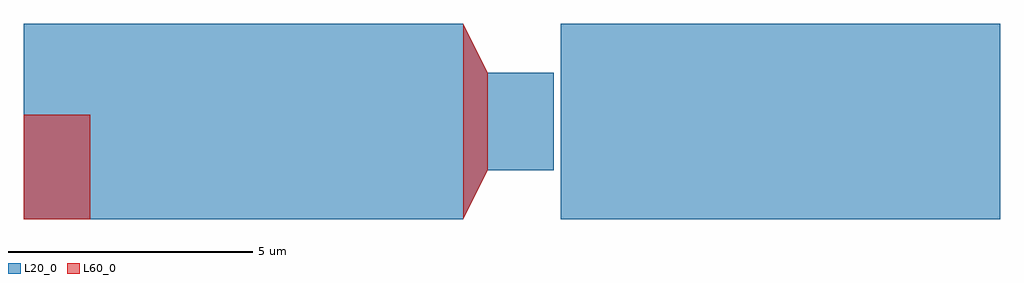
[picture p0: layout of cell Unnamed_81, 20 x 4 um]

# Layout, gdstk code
import gdstk
lib = gdstk.Library(unit=1e-6, precision=1e-09)
def R(c, l, rs):  # rectangles x0, y0, x1, y1
    for r in rs: c.add(gdstk.rectangle(r[:2], r[2:], *l))
def P(c, l, *ps):  # polygons
    for p in ps: c.add(gdstk.Polygon(p, *l))
L20_0 = (20, 0)
L60_0 = (60, 0)

rectangle_s9_4_l20_0_cf_ = lib.new_cell('rectangle_S9_4_L20_0_CF_f3b92d1a')
R(rectangle_s9_4_l20_0_cf_, L20_0, [(0,0,9,4)])

taper_l0p5_w4_w2_pnone__ = lib.new_cell('taper_L0p5_W4_W2_PNone__1ceb7a03')
P(taper_l0p5_w4_w2_pnone__, L20_0, [(0,-2),(0,2),(0.5,1),(0.5,-1)])

rectangle_s1p36_2_l20_0_ = lib.new_cell('rectangle_S1p36_2_L20_0_7e8236e9')
R(rectangle_s1p36_2_l20_0_, L20_0, [(0,0,1.36,2)])

c_taper_l0p5_w4_w2_pnone__ = lib.new_cell('taper_L0p5_W4_W2_PNone__df8a22d8')
P(c_taper_l0p5_w4_w2_pnone__, L60_0, [(0,-2),(0,2),(0.5,1),(0.5,-1)])

rectangle_s1p36_2p14_l6_ = lib.new_cell('rectangle_S1p36_2p14_L6_38d8ced3')
R(rectangle_s1p36_2p14_l6_, L60_0, [(0,0,1.36,2.14)])

unnamed_81 = lib.new_cell('Unnamed_81')
unnamed_81.add(gdstk.Reference(rectangle_s9_4_l20_0_cf_, (0,0)))
unnamed_81.add(gdstk.Reference(taper_l0p5_w4_w2_pnone__, (9,2)))
unnamed_81.add(gdstk.Reference(rectangle_s1p36_2_l20_0_, (9.5,1)))
unnamed_81.add(gdstk.Reference(c_taper_l0p5_w4_w2_pnone__, (9,2)))
unnamed_81.add(gdstk.Reference(rectangle_s1p36_2p14_l6_, (0,0)))
unnamed_81.add(gdstk.Reference(rectangle_s9_4_l20_0_cf_, (11,0)))

lib.write_gds('Unnamed_81.gds')
